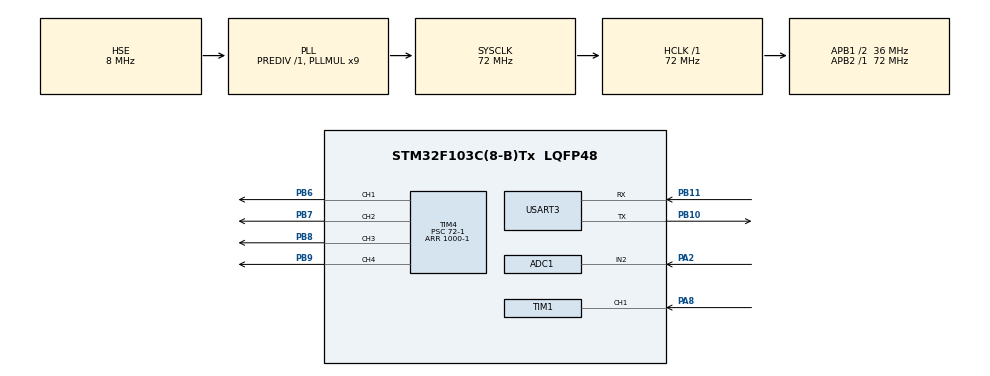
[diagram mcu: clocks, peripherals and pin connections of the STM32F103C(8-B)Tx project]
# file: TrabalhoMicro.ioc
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ADC1.Channel-0\#ChannelRegularConversion=ADC_CHANNEL_2
ADC1.NbrOfConversionFlag=1
ADC1.Rank-0\#ChannelRegularConversion=1
ADC1.SamplingTime-0\#ChannelRegularConversion=ADC_SAMPLETIME_239CYCLES_5
ADC1.master=1
Mcu.Family=STM32F1
Mcu.Name=STM32F103C(8-B)Tx
Mcu.Package=LQFP48
NVIC.PriorityGroup=NVIC_PRIORITYGROUP_4
PA13.Mode=Serial_Wire
PA13.Signal=SYS_JTMS-SWDIO
PA14.Mode=Serial_Wire
PA14.Signal=SYS_JTCK-SWCLK
PA2.Signal=ADCx_IN2
PA8.Signal=S_TIM1_CH1
PB10.Mode=Asynchronous
PB10.Signal=USART3_TX
PB11.Mode=Asynchronous
PB11.Signal=USART3_RX
PB6.Signal=S_TIM4_CH1
PB7.Signal=S_TIM4_CH2
PB8.Signal=S_TIM4_CH3
PB9.Signal=S_TIM4_CH4
PD0-OSC_IN.Mode=HSE-External-Oscillator
PD0-OSC_IN.Signal=RCC_OSC_IN
PD1-OSC_OUT.Mode=HSE-External-Oscillator
PD1-OSC_OUT.Signal=RCC_OSC_OUT
ProjectManager.HeapSize=0x200
ProjectManager.StackSize=0x400
ProjectManager.TargetToolchain=STM32CubeIDE
RCC.ADCPresc=RCC_ADCPCLK2_DIV6
RCC.AHBFreq_Value=72000000
RCC.APB1CLKDivider=RCC_HCLK_DIV2
RCC.APB1Freq_Value=36000000
RCC.APB1TimFreq_Value=72000000
RCC.APB2Freq_Value=72000000
RCC.APB2TimFreq_Value=72000000
RCC.HCLKFreq_Value=72000000
RCC.PLLMUL=RCC_PLL_MUL9
RCC.PLLSourceVirtual=RCC_PLLSOURCE_HSE
RCC.SYSCLKFreq_VALUE=72000000
RCC.SYSCLKSource=RCC_SYSCLKSOURCE_PLLCLK
RCC.USBFreq_Value=72000000
SH.ADCx_IN2.0=ADC1_IN2,IN2
SH.S_TIM1_CH1.0=TIM1_CH1,Input_Capture1_from_TI1
SH.S_TIM4_CH1.0=TIM4_CH1,PWM Generation1 CH1
SH.S_TIM4_CH2.0=TIM4_CH2,PWM Generation2 CH2
SH.S_TIM4_CH3.0=TIM4_CH3,PWM Generation3 CH3
SH.S_TIM4_CH4.0=TIM4_CH4,PWM Generation4 CH4
STMicroelectronics.X-CUBE-ALGOBUILD.1.3.0.LibraryCcDSPOoLibraryJjDSPOoLibrary=true
TIM1.AutoReloadPreload=TIM_AUTORELOAD_PRELOAD_ENABLE
TIM1.Channel-Input_Capture1_from_TI1=TIM_CHANNEL_1
TIM1.Period=1000-1
TIM1.Prescaler=7200-1
TIM4.AutoReloadPreload=TIM_AUTORELOAD_PRELOAD_ENABLE
TIM4.Channel-PWM\ Generation1\ CH1=TIM_CHANNEL_1
TIM4.Channel-PWM\ Generation2\ CH2=TIM_CHANNEL_2
TIM4.Channel-PWM\ Generation3\ CH3=TIM_CHANNEL_3
TIM4.Channel-PWM\ Generation4\ CH4=TIM_CHANNEL_4
TIM4.Period=1000-1
TIM4.Prescaler=72-1
USART3.VirtualMode=VM_ASYNC
VP_STMicroelectronics.X-CUBE-ALGOBUILD_VS_DSPOoLibraryJjLibrary_1.3.0_1.3.0.Mode=DSPOoLibraryJjLibrary
VP_TIM1_VS_ClockSourceINT.Mode=Internal
VP_TIM4_VS_ClockSourceINT.Mode=Internal
board=custom

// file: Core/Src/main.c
/* USER CODE BEGIN Header */
/**
 ****
 * @file           : main.c
 * @brief          : Main program body
 ****
 * @attention
 *
 * Copyright (c) 2024 STMicroelectronics.
 * All rights reserved.
 *
 * This software is licensed under terms that can be found in the LICENSE file
 * in the root directory of this software component.
 * If no LICENSE file comes with this software, it is provided AS-IS.
 *
 ****
 */
/* USER CODE END Header */
#include "main.h"
#include "arm_math.h"

ADC_HandleTypeDef hadc1;

TIM_HandleTypeDef htim1;
TIM_HandleTypeDef htim4;

UART_HandleTypeDef huart3;

/* USER CODE BEGIN PV */

volatile uint32_t pulse_count = 0;
volatile uint32_t elapsed_time_ms = 0;
arm_pid_instance_f32 pid_instance; // Instância do controlador PID

/* USER CODE END PV */

void SystemClock_Config(void);
static void MX_GPIO_Init(void);
static void MX_ADC1_Init(void);
static void MX_TIM1_Init(void);
static void MX_TIM4_Init(void);
static void MX_USART3_UART_Init(void);
/* USER CODE BEGIN PFP */
void HAL_TIM_IC_CaptureCallback(TIM_HandleTypeDef *htim);
void HAL_TIM_PeriodElapsedCallback(TIM_HandleTypeDef *htim);
uint32_t pid(uint32_t current_duty_cycle, uint32_t current_pulse_count);
/* USER CODE END PFP */

int main(void) {

	/* MCU Configuration--------------------------------------------------------*/

	/* Reset of all peripherals, Initializes the Flash interface and the Systick. */
	HAL_Init();

	/* Configure the system clock */
	SystemClock_Config();

	/* Initialize all configured peripherals */
	MX_GPIO_Init();
	MX_ADC1_Init();
	MX_TIM1_Init();
	MX_TIM4_Init();
	MX_USART3_UART_Init();
	/* USER CODE BEGIN 2 */
	HAL_TIM_PWM_Start(&htim4, TIM_CHANNEL_1);
	HAL_TIM_PWM_Start(&htim4, TIM_CHANNEL_2);
	HAL_TIM_Base_Start(&htim1);
	HAL_TIM_IC_Start_IT(&htim1, TIM_CHANNEL_1);  // encoder
	HAL_ADCEx_Calibration_Start(&hadc1);

	/* Inicializar o controlador PID */
	arm_pid_init_f32(&pid_instance, 1);

	/* USER CODE END 2 */

	/* Infinite loop */
	/* USER CODE BEGIN WHILE */
	uint32_t current_duty_cycle = 0;

	while (1) {
		// Acesse as variáveis pulse_count e elapsed_time_ms que contam pulsos obtidos a partir do encoder em função do tempo
		uint32_t current_pulse_count = pulse_count;
		uint32_t current_elapsed_time_ms = elapsed_time_ms;
		// Receber mensagem serial
		char received_char;
		// Incrementar a largura de pulso em passos de 10% por segundo
		if (__HAL_TIM_GET_FLAG(&htim1, TIM_FLAG_UPDATE)) { //para atualizar a cada 1 segundo
			__HAL_TIM_CLEAR_FLAG(&htim1, TIM_FLAG_UPDATE);
			if (HAL_UART_Receive(&huart3, (uint8_t*) &received_char, 1, 100)
					== HAL_OK) {
				switch (received_char) {
				case 'r':
					// Aumentar a aceleração do motor
					TIM4->CCR1 = 1000;
					TIM4->CCR2 = 0;
					break;
				case 'l':
					TIM4->CCR1 = 1000;
					TIM4->CCR2 = 0;
					break;
				case 's':
					// stop
					TIM4->CCR1 = 0;
					TIM4->CCR2 = 0;
					break;
				default:
					// Comando inválido
					break;
				}
			} else {

				HAL_ADC_Start(&hadc1);
				HAL_ADC_PollForConversion(&hadc1, 1);
				uint16_t adc_value = HAL_ADC_GetValue(&hadc1);

				if (adc_value > 2048) {
					// Mapear o valor do potenciômetro para a faixa de 0-100
					uint32_t duty_cycle = ((adc_value) * 100) / 4095;
					if (current_duty_cycle < duty_cycle) {
						current_duty_cycle += 10;
					} else if (current_duty_cycle > duty_cycle) {
						current_duty_cycle -= 10;
					}

					uint32_t motor_output = pid(current_duty_cycle,
							current_pulse_count);
					// 10 = CCR/1000*100
					TIM4->CCR1 = 0;
					TIM4->CCR2 = (motor_output * 10); //antes estava current_duty_cycle*10

				} else {
					// Mapear o valor do potenciômetro para a faixa de 0-100
					uint32_t duty_cycle = ((adc_value) * 100) / 2048;
					if (current_duty_cycle < duty_cycle) {
						current_duty_cycle += 10;
					} else if (current_duty_cycle > duty_cycle) {
						current_duty_cycle -= 10;
					}

					uint32_t motor_output = pid(current_duty_cycle,
							pulse_count);
					// 10 = CCR/1000*100
					TIM4->CCR1 = (motor_output * 10); //antes estava current_duty_cycle*10
					TIM4->CCR2 = 0;
				}
			}
		}
		/* USER CODE END WHILE */

	}
}

/**
 * Funçoes pid control
 */
uint32_t pid(uint32_t current_duty_cycle, uint32_t current_pulse_count) {
	uint16_t desired_output = current_duty_cycle;

	// Obter a saída real dos motores (pode ser a leitura do encoder, por exemplo)
	uint16_t actual_output = 70;

	// Calcular o erro entre a saída desejada e a saída real dos motores
	int error = desired_output - actual_output;

	// Calcular a saída do controlador PID com base no erro
	float32_t pid_output = arm_pid_f32(&pid_instance, error);

	// Aplicar a saída do controlador PID para ajustar a saída dos motores
	uint32_t motor_output = desired_output + (uint16_t) (pid_output);
	return motor_output;
}

/**
 * Função de interrupção para lidar com pulsos do encoder
 */
void HAL_TIM_IC_CaptureCallback(TIM_HandleTypeDef *htim) {
	if (htim->Instance == TIM1) {
		pulse_count++;
	}
}

/**
 * Função para calcular o tempo decorrido
 */
void HAL_TIM_PeriodElapsedCallback(TIM_HandleTypeDef *htim) {
	if (htim->Instance == TIM1) {
		elapsed_time_ms++;  // Incrementa o tempo a cada segundo
	}
}
void SystemClock_Config(void) {
	RCC_OscInitTypeDef RCC_OscInitStruct = { 0 };
	RCC_ClkInitTypeDef RCC_ClkInitStruct = { 0 };
	RCC_PeriphCLKInitTypeDef PeriphClkInit = { 0 };

	/** Initializes the RCC Oscillators according to the specified parameters
	 * in the RCC_OscInitTypeDef structure.
	 */
	RCC_OscInitStruct.OscillatorType = RCC_OSCILLATORTYPE_HSE;
	RCC_OscInitStruct.HSEState = RCC_HSE_ON;
	RCC_OscInitStruct.HSEPredivValue = RCC_HSE_PREDIV_DIV1;
	RCC_OscInitStruct.HSIState = RCC_HSI_ON;
	RCC_OscInitStruct.PLL.PLLState = RCC_PLL_ON;
	RCC_OscInitStruct.PLL.PLLSource = RCC_PLLSOURCE_HSE;
	RCC_OscInitStruct.PLL.PLLMUL = RCC_PLL_MUL9;
	if (HAL_RCC_OscConfig(&RCC_OscInitStruct) != HAL_OK) {
		Error_Handler();
	}

	/** Initializes the CPU, AHB and APB buses clocks
	 */
	RCC_ClkInitStruct.ClockType = RCC_CLOCKTYPE_HCLK | RCC_CLOCKTYPE_SYSCLK
			| RCC_CLOCKTYPE_PCLK1 | RCC_CLOCKTYPE_PCLK2;
	RCC_ClkInitStruct.SYSCLKSource = RCC_SYSCLKSOURCE_PLLCLK;
	RCC_ClkInitStruct.AHBCLKDivider = RCC_SYSCLK_DIV1;
	RCC_ClkInitStruct.APB1CLKDivider = RCC_HCLK_DIV2;
	RCC_ClkInitStruct.APB2CLKDivider = RCC_HCLK_DIV1;

	if (HAL_RCC_ClockConfig(&RCC_ClkInitStruct, FLASH_LATENCY_2) != HAL_OK) {
		Error_Handler();
	}
	PeriphClkInit.PeriphClockSelection = RCC_PERIPHCLK_ADC;
	PeriphClkInit.AdcClockSelection = RCC_ADCPCLK2_DIV6;
	if (HAL_RCCEx_PeriphCLKConfig(&PeriphClkInit) != HAL_OK) {
		Error_Handler();
	}
}

static void MX_ADC1_Init(void) {

	ADC_ChannelConfTypeDef sConfig = { 0 };

	/** Common config
	 */
	hadc1.Instance = ADC1;
	hadc1.Init.ScanConvMode = ADC_SCAN_DISABLE;
	hadc1.Init.ContinuousConvMode = DISABLE;
	hadc1.Init.DiscontinuousConvMode = DISABLE;
	hadc1.Init.ExternalTrigConv = ADC_SOFTWARE_START;
	hadc1.Init.DataAlign = ADC_DATAALIGN_RIGHT;
	hadc1.Init.NbrOfConversion = 1;
	if (HAL_ADC_Init(&hadc1) != HAL_OK) {
		Error_Handler();
	}

	/** Configure Regular Channel
	 */
	sConfig.Channel = ADC_CHANNEL_2;
	sConfig.Rank = ADC_REGULAR_RANK_1;
	sConfig.SamplingTime = ADC_SAMPLETIME_239CYCLES_5;
	if (HAL_ADC_ConfigChannel(&hadc1, &sConfig) != HAL_OK) {
		Error_Handler();
	}

}

static void MX_TIM1_Init(void) {

	TIM_ClockConfigTypeDef sClockSourceConfig = { 0 };
	TIM_MasterConfigTypeDef sMasterConfig = { 0 };
	TIM_IC_InitTypeDef sConfigIC = { 0 };

	htim1.Instance = TIM1;
	htim1.Init.Prescaler = 7200 - 1;
	htim1.Init.CounterMode = TIM_COUNTERMODE_UP;
	htim1.Init.Period = 1000 - 1;
	htim1.Init.ClockDivision = TIM_CLOCKDIVISION_DIV1;
	htim1.Init.RepetitionCounter = 0;
	htim1.Init.AutoReloadPreload = TIM_AUTORELOAD_PRELOAD_ENABLE;
	if (HAL_TIM_Base_Init(&htim1) != HAL_OK) {
		Error_Handler();
	}
	sClockSourceConfig.ClockSource = TIM_CLOCKSOURCE_INTERNAL;
	if (HAL_TIM_ConfigClockSource(&htim1, &sClockSourceConfig) != HAL_OK) {
		Error_Handler();
	}
	if (HAL_TIM_IC_Init(&htim1) != HAL_OK) {
		Error_Handler();
	}
	sMasterConfig.MasterOutputTrigger = TIM_TRGO_RESET;
	sMasterConfig.MasterSlaveMode = TIM_MASTERSLAVEMODE_DISABLE;
	if (HAL_TIMEx_MasterConfigSynchronization(&htim1, &sMasterConfig)
			!= HAL_OK) {
		Error_Handler();
	}
	sConfigIC.ICPolarity = TIM_INPUTCHANNELPOLARITY_RISING;
	sConfigIC.ICSelection = TIM_ICSELECTION_DIRECTTI;
	sConfigIC.ICPrescaler = TIM_ICPSC_DIV1;
	sConfigIC.ICFilter = 0;
	if (HAL_TIM_IC_ConfigChannel(&htim1, &sConfigIC, TIM_CHANNEL_1) != HAL_OK) {
		Error_Handler();
	}

}

static void MX_TIM4_Init(void) {

	TIM_ClockConfigTypeDef sClockSourceConfig = { 0 };
	TIM_MasterConfigTypeDef sMasterConfig = { 0 };
	TIM_OC_InitTypeDef sConfigOC = { 0 };

	htim4.Instance = TIM4;
	htim4.Init.Prescaler = 72 - 1;
	htim4.Init.CounterMode = TIM_COUNTERMODE_UP;
	htim4.Init.Period = 1000 - 1;
	htim4.Init.ClockDivision = TIM_CLOCKDIVISION_DIV1;
	htim4.Init.AutoReloadPreload = TIM_AUTORELOAD_PRELOAD_ENABLE;
	if (HAL_TIM_Base_Init(&htim4) != HAL_OK) {
		Error_Handler();
	}
	sClockSourceConfig.ClockSource = TIM_CLOCKSOURCE_INTERNAL;
	if (HAL_TIM_ConfigClockSource(&htim4, &sClockSourceConfig) != HAL_OK) {
		Error_Handler();
	}
	if (HAL_TIM_PWM_Init(&htim4) != HAL_OK) {
		Error_Handler();
	}
	sMasterConfig.MasterOutputTrigger = TIM_TRGO_RESET;
	sMasterConfig.MasterSlaveMode = TIM_MASTERSLAVEMODE_DISABLE;
	if (HAL_TIMEx_MasterConfigSynchronization(&htim4, &sMasterConfig)
			!= HAL_OK) {
		Error_Handler();
	}
	sConfigOC.OCMode = TIM_OCMODE_PWM1;
	sConfigOC.Pulse = 0;
	sConfigOC.OCPolarity = TIM_OCPOLARITY_HIGH;
	sConfigOC.OCFastMode = TIM_OCFAST_DISABLE;
	if (HAL_TIM_PWM_ConfigChannel(&htim4, &sConfigOC, TIM_CHANNEL_1)
			!= HAL_OK) {
		Error_Handler();
	}
	if (HAL_TIM_PWM_ConfigChannel(&htim4, &sConfigOC, TIM_CHANNEL_2)
			!= HAL_OK) {
		Error_Handler();
	}
	if (HAL_TIM_PWM_ConfigChannel(&htim4, &sConfigOC, TIM_CHANNEL_3)
			!= HAL_OK) {
		Error_Handler();
	}
	if (HAL_TIM_PWM_ConfigChannel(&htim4, &sConfigOC, TIM_CHANNEL_4)
			!= HAL_OK) {
		Error_Handler();
	}
	HAL_TIM_MspPostInit(&htim4);

}

static void MX_USART3_UART_Init(void) {

	huart3.Instance = USART3;
	huart3.Init.BaudRate = 115200;
	huart3.Init.WordLength = UART_WORDLENGTH_8B;
	huart3.Init.StopBits = UART_STOPBITS_1;
	huart3.Init.Parity = UART_PARITY_NONE;
	huart3.Init.Mode = UART_MODE_TX_RX;
	huart3.Init.HwFlowCtl = UART_HWCONTROL_NONE;
	huart3.Init.OverSampling = UART_OVERSAMPLING_16;
	if (HAL_UART_Init(&huart3) != HAL_OK) {
		Error_Handler();
	}

}

static void MX_GPIO_Init(void) {

	/* GPIO Ports Clock Enable */
	__HAL_RCC_GPIOD_CLK_ENABLE();
	__HAL_RCC_GPIOA_CLK_ENABLE();
	__HAL_RCC_GPIOB_CLK_ENABLE();

}

void Error_Handler(void) {
	__disable_irq();
	while (1) {
	}
}
